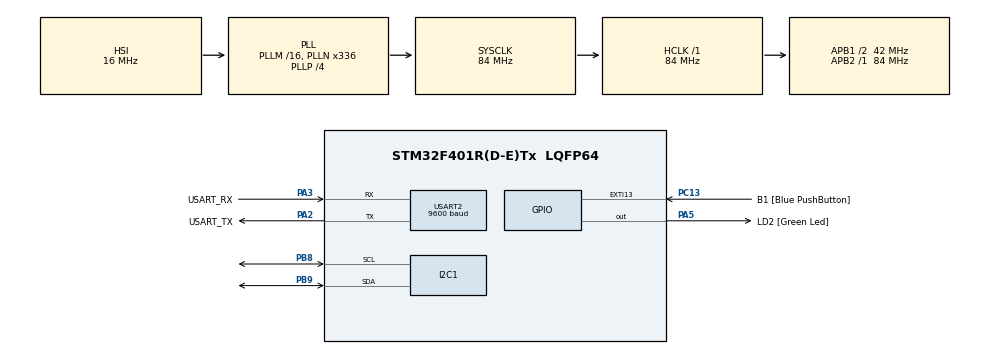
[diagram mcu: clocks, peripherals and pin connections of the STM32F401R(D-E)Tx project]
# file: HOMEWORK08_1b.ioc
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Dma.Request0=USART2_TX
Dma.USART2_TX.0.Direction=DMA_MEMORY_TO_PERIPH
Dma.USART2_TX.0.FIFOMode=DMA_FIFOMODE_DISABLE
Dma.USART2_TX.0.Instance=DMA1_Stream6
Dma.USART2_TX.0.MemDataAlignment=DMA_MDATAALIGN_BYTE
Dma.USART2_TX.0.MemInc=DMA_MINC_ENABLE
Dma.USART2_TX.0.Mode=DMA_NORMAL
Dma.USART2_TX.0.PeriphDataAlignment=DMA_PDATAALIGN_BYTE
Dma.USART2_TX.0.PeriphInc=DMA_PINC_DISABLE
Dma.USART2_TX.0.Priority=DMA_PRIORITY_LOW
Mcu.Family=STM32F4
Mcu.Name=STM32F401R(D-E)Tx
Mcu.Package=LQFP64
NVIC.DMA1_Stream6_IRQn=true\:0\:0\:false\:false\:true\:false\:true\:true
NVIC.PriorityGroup=NVIC_PRIORITYGROUP_4
NVIC.TIM2_IRQn=true\:0\:0\:false\:false\:true\:true\:true\:true
PA13.GPIO_Label=TMS
PA13.Mode=Trace_Asynchronous_SW
PA13.Signal=SYS_JTMS-SWDIO
PA14.GPIO_Label=TCK
PA14.Mode=Trace_Asynchronous_SW
PA14.Signal=SYS_JTCK-SWCLK
PA2.GPIO_Label=USART_TX
PA2.GPIO_Mode=GPIO_MODE_AF_PP
PA2.GPIO_PuPd=GPIO_NOPULL
PA2.GPIO_Speed=GPIO_SPEED_FREQ_LOW
PA2.Mode=Asynchronous
PA2.Signal=USART2_TX
PA3.GPIO_Label=USART_RX
PA3.GPIO_Mode=GPIO_MODE_AF_PP
PA3.GPIO_PuPd=GPIO_NOPULL
PA3.GPIO_Speed=GPIO_SPEED_FREQ_LOW
PA3.Mode=Asynchronous
PA3.Signal=USART2_RX
PA5.GPIO_Label=LD2 [Green Led]
PA5.GPIO_Mode=GPIO_MODE_OUTPUT_PP
PA5.GPIO_PuPd=GPIO_NOPULL
PA5.GPIO_Speed=GPIO_SPEED_FREQ_LOW
PA5.Signal=GPIO_Output
PB3.GPIO_Label=SWO
PB3.Mode=Trace_Asynchronous_SW
PB3.Signal=SYS_JTDO-SWO
PB8.Mode=I2C
PB8.Signal=I2C1_SCL
PB9.Mode=I2C
PB9.Signal=I2C1_SDA
PC13-ANTI_TAMP.GPIO_Label=B1 [Blue PushButton]
PC13-ANTI_TAMP.GPIO_ModeDefaultEXTI=GPIO_MODE_IT_FALLING
PC13-ANTI_TAMP.GPIO_PuPd=GPIO_NOPULL
PC13-ANTI_TAMP.Signal=GPXTI13
PC14-OSC32_IN.Mode=LSE-External-Oscillator
PC14-OSC32_IN.Signal=RCC_OSC32_IN
PC15-OSC32_OUT.Mode=LSE-External-Oscillator
PC15-OSC32_OUT.Signal=RCC_OSC32_OUT
PH0\ -\ OSC_IN.Mode=HSE-External-Clock-Source
PH0\ -\ OSC_IN.Signal=RCC_OSC_IN
PH1\ -\ OSC_OUT.Mode=HSE-External-Clock-Source
PH1\ -\ OSC_OUT.Signal=RCC_OSC_OUT
ProjectManager.HeapSize=0x200
ProjectManager.StackSize=0x400
ProjectManager.TargetToolchain=STM32CubeIDE
RCC.48MHZClocksFreq_Value=48000000
RCC.AHBFreq_Value=84000000
RCC.APB1CLKDivider=RCC_HCLK_DIV2
RCC.APB1Freq_Value=42000000
RCC.APB1TimFreq_Value=84000000
RCC.APB2Freq_Value=84000000
RCC.APB2TimFreq_Value=84000000
RCC.CortexFreq_Value=84000000
RCC.HCLKFreq_Value=84000000
RCC.HSE_VALUE=8000000
RCC.HSI_VALUE=16000000
RCC.PLLN=336
RCC.PLLP=RCC_PLLP_DIV4
RCC.PLLQ=7
RCC.SYSCLKFreq_VALUE=84000000
RCC.SYSCLKSource=RCC_SYSCLKSOURCE_PLLCLK
RCC.VCOOutputFreq_Value=336000000
TIM2.Period=9999
TIM2.Prescaler=8399
USART2.BaudRate=9600
USART2.VirtualMode=VM_ASYNC
VP_TIM2_VS_ClockSourceINT.Mode=Internal
board=NUCLEO-F401RE

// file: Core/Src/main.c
/* USER CODE BEGIN Header */
/**
  ******************************************************************************
  * @file           : main.c
  * @brief          : Main program body
  ******************************************************************************
  * @attention
  *
  * Copyright (c) 2025 STMicroelectronics.
  * All rights reserved.
  *
  * This software is licensed under terms that can be found in the LICENSE file
  * in the root directory of this software component.
  * If no LICENSE file comes with this software, it is provided AS-IS.
  *
  ******************************************************************************
  */
/* USER CODE END Header */
#include "main.h"

/* USER CODE BEGIN Includes */
#include "stdio.h"
/* USER CODE END Includes */

I2C_HandleTypeDef hi2c1;

TIM_HandleTypeDef htim2;

UART_HandleTypeDef huart2;
DMA_HandleTypeDef hdma_usart2_tx;

/* USER CODE BEGIN PV */
//LIS2DE
uint8_t ACCEL_ADD = 0b01010000;

//LIS2DE12
uint8_t LIS2DE12_ADD = 0b00110000;

//reg address, 1 Hz + normal mode + XYZ enabled
uint8_t CTRL_REG1[] = {0x20, 0b00010111};

//reg address, no HPF (default value at startup)
uint8_t CTRL_REG2[] = {0x21, 0b00000000};

//reg address, continuous update + 2g FSR + self test disabled
uint8_t CTRL_REG4[] = {0x23, 0b00000000};

//acceleration stored in here
uint8_t OUT_X_ADD = 0x29;
uint8_t OUT_Y_ADD = 0x2B;
uint8_t OUT_Z_ADD = 0x2D;

//int USART_flag = 1; //free UART at the beginning, ready for transmission
//so that, when TIM_flag goes to 1 after the first second, the main has both conditions (USART_flag && TIM_flag) and can send the data
//int TIM_flag = 0;
/* USER CODE END PV */

void SystemClock_Config(void);
static void MX_GPIO_Init(void);
static void MX_DMA_Init(void);
static void MX_USART2_UART_Init(void);
static void MX_I2C1_Init(void);
static void MX_TIM2_Init(void);

/* USER CODE BEGIN 0 */
void HAL_UART_TxCpltCallback(UART_HandleTypeDef *huart){
	if (huart == &huart2){
	//USART_flag = 1; //UART free after DMA completes
	}
}

void HAL_TIM_PeriodElapsedCallback(TIM_HandleTypeDef *htim)
{
    if (htim == &htim2)
    {
    	//TIM_flag = 1;
    	char str[64];
    	int len = 0;

			 //Get X
    		 	  int8_t acc_x = 0;
    		 	  HAL_I2C_Master_Transmit(&hi2c1, ACCEL_ADD, &OUT_X_ADD, 1, 50); //
    		 	  HAL_I2C_Master_Receive(&hi2c1, ACCEL_ADD+1, &acc_x, 1, 50);

			  //Get Y
				  int8_t acc_y = 0;
				  HAL_I2C_Master_Transmit(&hi2c1, ACCEL_ADD, &OUT_Y_ADD, 1, 50);
				  HAL_I2C_Master_Receive(&hi2c1, ACCEL_ADD+1, &acc_y, 1, 50);

			  //Get Z
				  int8_t acc_z = 0;
				  HAL_I2C_Master_Transmit(&hi2c1, ACCEL_ADD, &OUT_Z_ADD, 1, 50);
				  HAL_I2C_Master_Receive(&hi2c1, ACCEL_ADD+1, &acc_z, 1, 50);

				  float acc_g_x = acc_x / 64.0;
				  float acc_g_y = acc_y / 64.0;
				  float acc_g_z = acc_z / 64.0;

				  len = snprintf(str, sizeof(str), "X: %+-2f g\r\nY: %+.2f g\r\nZ: %+.2f g\r\n",acc_g_x, acc_g_y, acc_g_z);
				  //adding the + we state that we always want the sign explicitly printed.
				  HAL_UART_Transmit_DMA(&huart2, str, len);
    }
}
/* USER CODE END 0 */

int main(void)
{

  /* MCU Configuration--------------------------------------------------------*/

  /* Reset of all peripherals, Initializes the Flash interface and the Systick. */
  HAL_Init();

  /* Configure the system clock */
  SystemClock_Config();

  /* Initialize all configured peripherals */
  MX_GPIO_Init();
  MX_DMA_Init();
  MX_USART2_UART_Init();
  MX_I2C1_Init();
  MX_TIM2_Init();
  /* USER CODE BEGIN 2 */
  HAL_TIM_Base_Start_IT(&htim2);
  char str[64];
  int len = 0;

    //Initialize accelerometer

    if(HAL_I2C_Master_Transmit(&hi2c1, ACCEL_ADD, CTRL_REG1, sizeof(CTRL_REG1), 50) == HAL_OK){
  	  len = snprintf(str, sizeof(str),"LIS2DE found\r\n");
  	  //if the I2C write returns OK, then we know that there is a device with the LIS2DE address on the I2C bus, so we continue
    } else {
  	  //if not, we change the address to the LIS2BE12 and try again
  	  ACCEL_ADD = LIS2DE12_ADD;
  	  if(HAL_I2C_Master_Transmit(&hi2c1, ACCEL_ADD, CTRL_REG1, sizeof(CTRL_REG1), 50) == HAL_OK){
  		  len = snprintf(str, sizeof(str), "LIS2DE12 found\r\n");
  		  //if the function returns ok with the new address, we have a LIS2DE12
  	  } else {
  		  len = snprintf(str, sizeof(str), "Accelerometer error\r\n");
  		  //otherwise we have an error
  	  }
    }

  // if(USART_flag && TIM_flag){
	//   USART_flag = 0;
	  // TIM_flag = 0;
	   HAL_UART_Transmit_DMA(&huart2, str, len);
   //}

  /* USER CODE END 2 */

  /* Infinite loop */
  while (1)
  {

  }
}

void SystemClock_Config(void)
{
  RCC_OscInitTypeDef RCC_OscInitStruct = {0};
  RCC_ClkInitTypeDef RCC_ClkInitStruct = {0};

  /** Configure the main internal regulator output voltage
  */
  __HAL_RCC_PWR_CLK_ENABLE();
  __HAL_PWR_VOLTAGESCALING_CONFIG(PWR_REGULATOR_VOLTAGE_SCALE2);

  /** Initializes the RCC Oscillators according to the specified parameters
  * in the RCC_OscInitTypeDef structure.
  */
  RCC_OscInitStruct.OscillatorType = RCC_OSCILLATORTYPE_HSI;
  RCC_OscInitStruct.HSIState = RCC_HSI_ON;
  RCC_OscInitStruct.HSICalibrationValue = RCC_HSICALIBRATION_DEFAULT;
  RCC_OscInitStruct.PLL.PLLState = RCC_PLL_ON;
  RCC_OscInitStruct.PLL.PLLSource = RCC_PLLSOURCE_HSI;
  RCC_OscInitStruct.PLL.PLLM = 16;
  RCC_OscInitStruct.PLL.PLLN = 336;
  RCC_OscInitStruct.PLL.PLLP = RCC_PLLP_DIV4;
  RCC_OscInitStruct.PLL.PLLQ = 7;
  if (HAL_RCC_OscConfig(&RCC_OscInitStruct) != HAL_OK)
  {
    Error_Handler();
  }

  /** Initializes the CPU, AHB and APB buses clocks
  */
  RCC_ClkInitStruct.ClockType = RCC_CLOCKTYPE_HCLK|RCC_CLOCKTYPE_SYSCLK
                              |RCC_CLOCKTYPE_PCLK1|RCC_CLOCKTYPE_PCLK2;
  RCC_ClkInitStruct.SYSCLKSource = RCC_SYSCLKSOURCE_PLLCLK;
  RCC_ClkInitStruct.AHBCLKDivider = RCC_SYSCLK_DIV1;
  RCC_ClkInitStruct.APB1CLKDivider = RCC_HCLK_DIV2;
  RCC_ClkInitStruct.APB2CLKDivider = RCC_HCLK_DIV1;

  if (HAL_RCC_ClockConfig(&RCC_ClkInitStruct, FLASH_LATENCY_2) != HAL_OK)
  {
    Error_Handler();
  }
}

static void MX_I2C1_Init(void)
{

  hi2c1.Instance = I2C1;
  hi2c1.Init.ClockSpeed = 100000;
  hi2c1.Init.DutyCycle = I2C_DUTYCYCLE_2;
  hi2c1.Init.OwnAddress1 = 0;
  hi2c1.Init.AddressingMode = I2C_ADDRESSINGMODE_7BIT;
  hi2c1.Init.DualAddressMode = I2C_DUALADDRESS_DISABLE;
  hi2c1.Init.OwnAddress2 = 0;
  hi2c1.Init.GeneralCallMode = I2C_GENERALCALL_DISABLE;
  hi2c1.Init.NoStretchMode = I2C_NOSTRETCH_DISABLE;
  if (HAL_I2C_Init(&hi2c1) != HAL_OK)
  {
    Error_Handler();
  }

}

static void MX_TIM2_Init(void)
{

  TIM_ClockConfigTypeDef sClockSourceConfig = {0};
  TIM_MasterConfigTypeDef sMasterConfig = {0};

  htim2.Instance = TIM2;
  htim2.Init.Prescaler = 8399;
  htim2.Init.CounterMode = TIM_COUNTERMODE_UP;
  htim2.Init.Period = 9999;
  htim2.Init.ClockDivision = TIM_CLOCKDIVISION_DIV1;
  htim2.Init.AutoReloadPreload = TIM_AUTORELOAD_PRELOAD_DISABLE;
  if (HAL_TIM_Base_Init(&htim2) != HAL_OK)
  {
    Error_Handler();
  }
  sClockSourceConfig.ClockSource = TIM_CLOCKSOURCE_INTERNAL;
  if (HAL_TIM_ConfigClockSource(&htim2, &sClockSourceConfig) != HAL_OK)
  {
    Error_Handler();
  }
  sMasterConfig.MasterOutputTrigger = TIM_TRGO_RESET;
  sMasterConfig.MasterSlaveMode = TIM_MASTERSLAVEMODE_DISABLE;
  if (HAL_TIMEx_MasterConfigSynchronization(&htim2, &sMasterConfig) != HAL_OK)
  {
    Error_Handler();
  }

}

static void MX_USART2_UART_Init(void)
{

  huart2.Instance = USART2;
  huart2.Init.BaudRate = 9600;
  huart2.Init.WordLength = UART_WORDLENGTH_8B;
  huart2.Init.StopBits = UART_STOPBITS_1;
  huart2.Init.Parity = UART_PARITY_NONE;
  huart2.Init.Mode = UART_MODE_TX_RX;
  huart2.Init.HwFlowCtl = UART_HWCONTROL_NONE;
  huart2.Init.OverSampling = UART_OVERSAMPLING_16;
  if (HAL_UART_Init(&huart2) != HAL_OK)
  {
    Error_Handler();
  }

}

static void MX_DMA_Init(void)
{

  /* DMA controller clock enable */
  __HAL_RCC_DMA1_CLK_ENABLE();

  /* DMA interrupt init */
  /* DMA1_Stream6_IRQn interrupt configuration */
  HAL_NVIC_SetPriority(DMA1_Stream6_IRQn, 0, 0);
  HAL_NVIC_EnableIRQ(DMA1_Stream6_IRQn);

}

static void MX_GPIO_Init(void)
{
  GPIO_InitTypeDef GPIO_InitStruct = {0};

  /* GPIO Ports Clock Enable */
  __HAL_RCC_GPIOC_CLK_ENABLE();
  __HAL_RCC_GPIOH_CLK_ENABLE();
  __HAL_RCC_GPIOA_CLK_ENABLE();
  __HAL_RCC_GPIOB_CLK_ENABLE();

  /*Configure GPIO pin Output Level */
  HAL_GPIO_WritePin(LD2_GPIO_Port, LD2_Pin, GPIO_PIN_RESET);

  /*Configure GPIO pin : B1_Pin */
  GPIO_InitStruct.Pin = B1_Pin;
  GPIO_InitStruct.Mode = GPIO_MODE_IT_FALLING;
  GPIO_InitStruct.Pull = GPIO_NOPULL;
  HAL_GPIO_Init(B1_GPIO_Port, &GPIO_InitStruct);

  /*Configure GPIO pin : LD2_Pin */
  GPIO_InitStruct.Pin = LD2_Pin;
  GPIO_InitStruct.Mode = GPIO_MODE_OUTPUT_PP;
  GPIO_InitStruct.Pull = GPIO_NOPULL;
  GPIO_InitStruct.Speed = GPIO_SPEED_FREQ_LOW;
  HAL_GPIO_Init(LD2_GPIO_Port, &GPIO_InitStruct);

}

void Error_Handler(void)
{
  __disable_irq();
  while (1)
  {
  }
}
